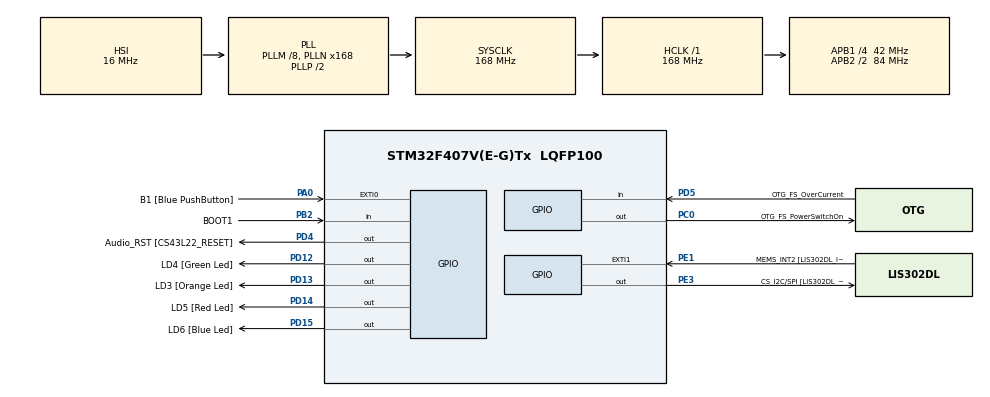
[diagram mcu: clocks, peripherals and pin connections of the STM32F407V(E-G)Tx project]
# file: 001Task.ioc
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Mcu.Family=STM32F4
Mcu.Name=STM32F407V(E-G)Tx
Mcu.Package=LQFP100
NVIC.PriorityGroup=NVIC_PRIORITYGROUP_4
NVIC.TIM6_DAC_IRQn=true\:0\:0\:false\:false\:true\:false\:true\:true
NVIC.TimeBase=TIM6_DAC_IRQn
NVIC.TimeBaseIP=TIM6
PA0-WKUP.GPIO_Label=B1 [Blue PushButton]
PA0-WKUP.Signal=GPXTI0
PA10.GPIO_Label=OTG_FS_ID
PA10.GPIO_Mode=GPIO_MODE_AF_PP
PA10.GPIO_PuPd=GPIO_NOPULL
PA10.GPIO_Speed=GPIO_SPEED_FREQ_LOW
PA10.Signal=USB_OTG_FS_ID
PA11.GPIO_Label=OTG_FS_DM
PA11.GPIO_Mode=GPIO_MODE_AF_PP
PA11.GPIO_PuPd=GPIO_NOPULL
PA11.GPIO_Speed=GPIO_SPEED_FREQ_LOW
PA11.Signal=USB_OTG_FS_DM
PA12.GPIO_Label=OTG_FS_DP
PA12.GPIO_Mode=GPIO_MODE_AF_PP
PA12.GPIO_PuPd=GPIO_NOPULL
PA12.GPIO_Speed=GPIO_SPEED_FREQ_LOW
PA12.Signal=USB_OTG_FS_DP
PA13.GPIO_Label=SWDIO
PA13.Signal=SYS_JTMS-SWDIO
PA14.GPIO_Label=SWCLK
PA14.Signal=SYS_JTCK-SWCLK
PA4.GPIO_Label=I2S3_WS [CS43L22_LRCK]
PA4.GPIO_Mode=GPIO_MODE_AF_PP
PA4.GPIO_PuPd=GPIO_NOPULL
PA4.GPIO_Speed=GPIO_SPEED_FREQ_LOW
PA4.Signal=I2S3_WS
PA5.GPIO_Label=SPI1_SCK [LIS302DL_SCL/SPC]
PA5.GPIO_Mode=GPIO_MODE_AF_PP
PA5.GPIO_PuPd=GPIO_NOPULL
PA5.GPIO_Speed=GPIO_SPEED_FREQ_LOW
PA5.Signal=SPI1_SCK
PA6.GPIO_Label=SPI1_MISO [LIS302DL_SDO]
PA6.GPIO_Mode=GPIO_MODE_AF_PP
PA6.GPIO_PuPd=GPIO_NOPULL
PA6.GPIO_Speed=GPIO_SPEED_FREQ_LOW
PA6.Signal=SPI1_MISO
PA7.GPIO_Label=SPI1_MOSI [LIS302DL_SDA/SDI/SDO]
PA7.GPIO_Mode=GPIO_MODE_AF_PP
PA7.GPIO_PuPd=GPIO_NOPULL
PA7.GPIO_Speed=GPIO_SPEED_FREQ_LOW
PA7.Signal=SPI1_MOSI
PA9.GPIO_Label=VBUS_FS
PA9.GPIO_Mode=GPIO_MODE_INPUT
PA9.GPIO_PuPd=GPIO_NOPULL
PA9.Signal=USB_OTG_FS_VBUS
PB10.GPIO_Label=CLK_IN [MP45DT02_CLK]
PB10.GPIO_Mode=GPIO_MODE_AF_PP
PB10.GPIO_PuPd=GPIO_NOPULL
PB10.GPIO_Speed=GPIO_SPEED_FREQ_LOW
PB10.Signal=I2S2_CK
PB2.GPIO_Label=BOOT1
PB2.GPIO_Mode=GPIO_MODE_INPUT
PB2.GPIO_PuPd=GPIO_NOPULL
PB2.Signal=GPIO_Input
PB3.GPIO_Label=SWO
PB3.Signal=SYS_JTDO-SWO
PB6.GPIO_Label=Audio_SCL [CS43L22_SCL]
PB6.GPIO_Mode=GPIO_MODE_AF_OD
PB6.GPIO_PuPd=GPIO_NOPULL
PB6.GPIO_Speed=GPIO_SPEED_FREQ_LOW
PB6.Signal=I2C1_SCL
PB9.GPIO_Label=Audio_SDA [CS43L22_SDA]
PB9.GPIO_Mode=GPIO_MODE_AF_OD
PB9.GPIO_PuPd=GPIO_NOPULL
PB9.GPIO_Speed=GPIO_SPEED_FREQ_LOW
PB9.Signal=I2C1_SDA
PC0.GPIO_Label=OTG_FS_PowerSwitchOn
PC0.GPIO_PuPd=GPIO_NOPULL
PC0.GPIO_Speed=GPIO_SPEED_FREQ_LOW
PC0.PinState=GPIO_PIN_SET
PC0.Signal=GPIO_Output
PC10.GPIO_Label=I2S3_SCK [CS43L22_SCLK]
PC10.GPIO_Mode=GPIO_MODE_AF_PP
PC10.GPIO_PuPd=GPIO_NOPULL
PC10.GPIO_Speed=GPIO_SPEED_FREQ_LOW
PC10.Signal=I2S3_CK
PC12.GPIO_Label=I2S3_SD [CS43L22_SDIN]
PC12.GPIO_Mode=GPIO_MODE_AF_PP
PC12.GPIO_PuPd=GPIO_NOPULL
PC12.GPIO_Speed=GPIO_SPEED_FREQ_LOW
PC12.Signal=I2S3_SD
PC14-OSC32_IN.GPIO_Label=PC14-OSC32_IN
PC14-OSC32_IN.Signal=RCC_OSC32_IN
PC15-OSC32_OUT.GPIO_Label=PC15-OSC32_OUT
PC15-OSC32_OUT.Signal=RCC_OSC32_OUT
PC3.GPIO_Label=PDM_OUT [MP45DT02_DOUT]
PC3.GPIO_Mode=GPIO_MODE_AF_PP
PC3.GPIO_PuPd=GPIO_NOPULL
PC3.GPIO_Speed=GPIO_SPEED_FREQ_LOW
PC3.Signal=I2S2_SD
PC7.GPIO_Label=I2S3_MCK [CS43L22_MCLK]
PC7.GPIO_Mode=GPIO_MODE_AF_PP
PC7.GPIO_PuPd=GPIO_NOPULL
PC7.GPIO_Speed=GPIO_SPEED_FREQ_LOW
PC7.Signal=I2S3_MCK
PD12.GPIO_Label=LD4 [Green Led]
PD12.GPIO_PuPd=GPIO_NOPULL
PD12.GPIO_Speed=GPIO_SPEED_FREQ_LOW
PD12.Signal=GPIO_Output
PD13.GPIO_Label=LD3 [Orange Led]
PD13.GPIO_PuPd=GPIO_NOPULL
PD13.GPIO_Speed=GPIO_SPEED_FREQ_LOW
PD13.Signal=GPIO_Output
PD14.GPIO_Label=LD5 [Red Led]
PD14.GPIO_PuPd=GPIO_NOPULL
PD14.GPIO_Speed=GPIO_SPEED_FREQ_LOW
PD14.Signal=GPIO_Output
PD15.GPIO_Label=LD6 [Blue Led]
PD15.GPIO_PuPd=GPIO_NOPULL
PD15.GPIO_Speed=GPIO_SPEED_FREQ_LOW
PD15.Signal=GPIO_Output
PD4.GPIO_Label=Audio_RST [CS43L22_RESET]
PD4.GPIO_PuPd=GPIO_NOPULL
PD4.GPIO_Speed=GPIO_SPEED_FREQ_LOW
PD4.Signal=GPIO_Output
PD5.GPIO_Label=OTG_FS_OverCurrent
PD5.GPIO_Mode=GPIO_MODE_INPUT
PD5.GPIO_PuPd=GPIO_NOPULL
PD5.Signal=GPIO_Input
PE1.GPIO_Label=MEMS_INT2 [LIS302DL_INT2]
PE1.GPIO_ModeDefaultEXTI=GPIO_MODE_EVT_RISING
PE1.GPIO_PuPd=GPIO_NOPULL
PE1.Signal=GPXTI1
PE3.GPIO_Label=CS_I2C/SPI [LIS302DL_CS_I2C/SPI]
PE3.GPIO_PuPd=GPIO_NOPULL
PE3.GPIO_Speed=GPIO_SPEED_FREQ_LOW
PE3.Signal=GPIO_Output
PH0-OSC_IN.GPIO_Label=PH0-OSC_IN
PH0-OSC_IN.Signal=RCC_OSC_IN
PH1-OSC_OUT.GPIO_Label=PH1-OSC_OUT
PH1-OSC_OUT.Signal=RCC_OSC_OUT
ProjectManager.HeapSize=0x200
ProjectManager.StackSize=0x400
ProjectManager.TargetToolchain=STM32CubeIDE
RCC.48MHZClocksFreq_Value=48000000
RCC.AHBFreq_Value=168000000
RCC.APB1CLKDivider=RCC_HCLK_DIV4
RCC.APB1Freq_Value=42000000
RCC.APB1TimFreq_Value=84000000
RCC.APB2CLKDivider=RCC_HCLK_DIV2
RCC.APB2Freq_Value=84000000
RCC.APB2TimFreq_Value=168000000
RCC.CortexFreq_Value=168000000
RCC.HCLKFreq_Value=168000000
RCC.HSE_VALUE=8000000
RCC.HSI_VALUE=16000000
RCC.LSE_VALUE=32768
RCC.PLLM=8
RCC.PLLN=168
RCC.PLLQ=7
RCC.SYSCLKFreq_VALUE=168000000
RCC.SYSCLKSource=RCC_SYSCLKSOURCE_PLLCLK
RCC.VCOOutputFreq_Value=336000000
VP_SYS_VS_tim6.Mode=TIM6
board=STM32F407G-DISC1

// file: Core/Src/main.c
/* USER CODE BEGIN Header */
/**
  ******************************************************************************
  * @file           : main.c
  * @brief          : Main program body
  ******************************************************************************
  * @attention
  *
  * Copyright (c) 2026 STMicroelectronics.
  * All rights reserved.
  *
  * This software is licensed under terms that can be found in the LICENSE file
  * in the root directory of this software component.
  * If no LICENSE file comes with this software, it is provided AS-IS.
  *
  ******************************************************************************
  */
/* USER CODE END Header */
#include "main.h"

/* USER CODE BEGIN Includes */
#include <stdio.h>
#include "FreeRTOS.h"
#include "task.h"

/* USER CODE END Includes */

/* USER CODE BEGIN PV */
#define DWT_CTRL      (*(volatile uint32_t*)0xE0001000)

/* USER CODE END PV */

void SystemClock_Config(void);
static void MX_GPIO_Init(void);
/* USER CODE BEGIN PFP */

extern void SEGGER_UART_init(uint32_t baud);
static void task1_handler(void* parameters);
static void task2_handler(void* parameters);
/* USER CODE END PFP */

int main(void)
{

  /* USER CODE BEGIN 1 */
	TaskHandle_t task1_handle;
	TaskHandle_t task2_handle;
	BaseType_t status;

  /* USER CODE END 1 */

  /* MCU Configuration--------------------------------------------------------*/

  /* Reset of all peripherals, Initializes the Flash interface and the Systick. */
  HAL_Init();

  /* Configure the system clock */
  SystemClock_Config();

  /* Initialize all configured peripherals */
  MX_GPIO_Init();
  /* USER CODE BEGIN 2 */

  //Enable the CYCCNT counter
  DWT_CTRL |= (1 << 0);

  SEGGER_UART_init(500000);

  SEGGER_SYSVIEW_Conf();

//  SEGGER_SYSVIEW_Start();

  status = xTaskCreate(task1_handler, "Task-1", 200, "Hello World from Task-1", 2, &task1_handle);

  configASSERT(status == pdPASS);

  status = xTaskCreate(task2_handler, "Task-2", 200, "Hello World from Task-2", 2, &task2_handle);

  configASSERT(status == pdPASS);

  //start the FreeRTOS scheduler
  vTaskStartScheduler();

  //if the control comes here, then the launch of the scheduler has failed due to insufficient memory in heap

  /* USER CODE END 2 */

  /* Infinite loop */
  while (1)
  {

  }
}

void SystemClock_Config(void)
{
  RCC_OscInitTypeDef RCC_OscInitStruct = {0};
  RCC_ClkInitTypeDef RCC_ClkInitStruct = {0};

  /** Configure the main internal regulator output voltage
  */
  __HAL_RCC_PWR_CLK_ENABLE();
  __HAL_PWR_VOLTAGESCALING_CONFIG(PWR_REGULATOR_VOLTAGE_SCALE1);

  /** Initializes the RCC Oscillators according to the specified parameters
  * in the RCC_OscInitTypeDef structure.
  */
  RCC_OscInitStruct.OscillatorType = RCC_OSCILLATORTYPE_HSI;
  RCC_OscInitStruct.HSIState = RCC_HSI_ON;
  RCC_OscInitStruct.HSICalibrationValue = RCC_HSICALIBRATION_DEFAULT;
  RCC_OscInitStruct.PLL.PLLState = RCC_PLL_ON;
  RCC_OscInitStruct.PLL.PLLSource = RCC_PLLSOURCE_HSI;
  RCC_OscInitStruct.PLL.PLLM = 8;
  RCC_OscInitStruct.PLL.PLLN = 168;
  RCC_OscInitStruct.PLL.PLLP = RCC_PLLP_DIV2;
  RCC_OscInitStruct.PLL.PLLQ = 7;
  if (HAL_RCC_OscConfig(&RCC_OscInitStruct) != HAL_OK)
  {
    Error_Handler();
  }

  /** Initializes the CPU, AHB and APB buses clocks
  */
  RCC_ClkInitStruct.ClockType = RCC_CLOCKTYPE_HCLK|RCC_CLOCKTYPE_SYSCLK
                              |RCC_CLOCKTYPE_PCLK1|RCC_CLOCKTYPE_PCLK2;
  RCC_ClkInitStruct.SYSCLKSource = RCC_SYSCLKSOURCE_PLLCLK;
  RCC_ClkInitStruct.AHBCLKDivider = RCC_SYSCLK_DIV1;
  RCC_ClkInitStruct.APB1CLKDivider = RCC_HCLK_DIV4;
  RCC_ClkInitStruct.APB2CLKDivider = RCC_HCLK_DIV2;

  if (HAL_RCC_ClockConfig(&RCC_ClkInitStruct, FLASH_LATENCY_5) != HAL_OK)
  {
    Error_Handler();
  }
}

static void MX_GPIO_Init(void)
{
  GPIO_InitTypeDef GPIO_InitStruct = {0};

  /* GPIO Ports Clock Enable */
  __HAL_RCC_GPIOE_CLK_ENABLE();
  __HAL_RCC_GPIOC_CLK_ENABLE();
  __HAL_RCC_GPIOH_CLK_ENABLE();
  __HAL_RCC_GPIOA_CLK_ENABLE();
  __HAL_RCC_GPIOB_CLK_ENABLE();
  __HAL_RCC_GPIOD_CLK_ENABLE();

  /*Configure GPIO pin Output Level */
  HAL_GPIO_WritePin(CS_I2C_SPI_GPIO_Port, CS_I2C_SPI_Pin, GPIO_PIN_RESET);

  /*Configure GPIO pin Output Level */
  HAL_GPIO_WritePin(OTG_FS_PowerSwitchOn_GPIO_Port, OTG_FS_PowerSwitchOn_Pin, GPIO_PIN_SET);

  /*Configure GPIO pin Output Level */
  HAL_GPIO_WritePin(GPIOD, LD4_Pin|LD3_Pin|LD5_Pin|LD6_Pin
                          |Audio_RST_Pin, GPIO_PIN_RESET);

  /*Configure GPIO pin : CS_I2C_SPI_Pin */
  GPIO_InitStruct.Pin = CS_I2C_SPI_Pin;
  GPIO_InitStruct.Mode = GPIO_MODE_OUTPUT_PP;
  GPIO_InitStruct.Pull = GPIO_NOPULL;
  GPIO_InitStruct.Speed = GPIO_SPEED_FREQ_LOW;
  HAL_GPIO_Init(CS_I2C_SPI_GPIO_Port, &GPIO_InitStruct);

  /*Configure GPIO pin : OTG_FS_PowerSwitchOn_Pin */
  GPIO_InitStruct.Pin = OTG_FS_PowerSwitchOn_Pin;
  GPIO_InitStruct.Mode = GPIO_MODE_OUTPUT_PP;
  GPIO_InitStruct.Pull = GPIO_NOPULL;
  GPIO_InitStruct.Speed = GPIO_SPEED_FREQ_LOW;
  HAL_GPIO_Init(OTG_FS_PowerSwitchOn_GPIO_Port, &GPIO_InitStruct);

  /*Configure GPIO pin : PDM_OUT_Pin */
  GPIO_InitStruct.Pin = PDM_OUT_Pin;
  GPIO_InitStruct.Mode = GPIO_MODE_AF_PP;
  GPIO_InitStruct.Pull = GPIO_NOPULL;
  GPIO_InitStruct.Speed = GPIO_SPEED_FREQ_LOW;
  GPIO_InitStruct.Alternate = GPIO_AF5_SPI2;
  HAL_GPIO_Init(PDM_OUT_GPIO_Port, &GPIO_InitStruct);

  /*Configure GPIO pin : B1_Pin */
  GPIO_InitStruct.Pin = B1_Pin;
  GPIO_InitStruct.Mode = GPIO_MODE_IT_RISING;
  GPIO_InitStruct.Pull = GPIO_NOPULL;
  HAL_GPIO_Init(B1_GPIO_Port, &GPIO_InitStruct);

  /*Configure GPIO pin : I2S3_WS_Pin */
  GPIO_InitStruct.Pin = I2S3_WS_Pin;
  GPIO_InitStruct.Mode = GPIO_MODE_AF_PP;
  GPIO_InitStruct.Pull = GPIO_NOPULL;
  GPIO_InitStruct.Speed = GPIO_SPEED_FREQ_LOW;
  GPIO_InitStruct.Alternate = GPIO_AF6_SPI3;
  HAL_GPIO_Init(I2S3_WS_GPIO_Port, &GPIO_InitStruct);

  /*Configure GPIO pins : SPI1_SCK_Pin SPI1_MISO_Pin SPI1_MOSI_Pin */
  GPIO_InitStruct.Pin = SPI1_SCK_Pin|SPI1_MISO_Pin|SPI1_MOSI_Pin;
  GPIO_InitStruct.Mode = GPIO_MODE_AF_PP;
  GPIO_InitStruct.Pull = GPIO_NOPULL;
  GPIO_InitStruct.Speed = GPIO_SPEED_FREQ_LOW;
  GPIO_InitStruct.Alternate = GPIO_AF5_SPI1;
  HAL_GPIO_Init(GPIOA, &GPIO_InitStruct);

  /*Configure GPIO pin : BOOT1_Pin */
  GPIO_InitStruct.Pin = BOOT1_Pin;
  GPIO_InitStruct.Mode = GPIO_MODE_INPUT;
  GPIO_InitStruct.Pull = GPIO_NOPULL;
  HAL_GPIO_Init(BOOT1_GPIO_Port, &GPIO_InitStruct);

  /*Configure GPIO pin : CLK_IN_Pin */
  GPIO_InitStruct.Pin = CLK_IN_Pin;
  GPIO_InitStruct.Mode = GPIO_MODE_AF_PP;
  GPIO_InitStruct.Pull = GPIO_NOPULL;
  GPIO_InitStruct.Speed = GPIO_SPEED_FREQ_LOW;
  GPIO_InitStruct.Alternate = GPIO_AF5_SPI2;
  HAL_GPIO_Init(CLK_IN_GPIO_Port, &GPIO_InitStruct);

  /*Configure GPIO pins : LD4_Pin LD3_Pin LD5_Pin LD6_Pin
                           Audio_RST_Pin */
  GPIO_InitStruct.Pin = LD4_Pin|LD3_Pin|LD5_Pin|LD6_Pin
                          |Audio_RST_Pin;
  GPIO_InitStruct.Mode = GPIO_MODE_OUTPUT_PP;
  GPIO_InitStruct.Pull = GPIO_NOPULL;
  GPIO_InitStruct.Speed = GPIO_SPEED_FREQ_LOW;
  HAL_GPIO_Init(GPIOD, &GPIO_InitStruct);

  /*Configure GPIO pins : I2S3_MCK_Pin I2S3_SCK_Pin I2S3_SD_Pin */
  GPIO_InitStruct.Pin = I2S3_MCK_Pin|I2S3_SCK_Pin|I2S3_SD_Pin;
  GPIO_InitStruct.Mode = GPIO_MODE_AF_PP;
  GPIO_InitStruct.Pull = GPIO_NOPULL;
  GPIO_InitStruct.Speed = GPIO_SPEED_FREQ_LOW;
  GPIO_InitStruct.Alternate = GPIO_AF6_SPI3;
  HAL_GPIO_Init(GPIOC, &GPIO_InitStruct);

  /*Configure GPIO pin : VBUS_FS_Pin */
  GPIO_InitStruct.Pin = VBUS_FS_Pin;
  GPIO_InitStruct.Mode = GPIO_MODE_INPUT;
  GPIO_InitStruct.Pull = GPIO_NOPULL;
  HAL_GPIO_Init(VBUS_FS_GPIO_Port, &GPIO_InitStruct);

  /*Configure GPIO pins : OTG_FS_ID_Pin OTG_FS_DM_Pin OTG_FS_DP_Pin */
  GPIO_InitStruct.Pin = OTG_FS_ID_Pin|OTG_FS_DM_Pin|OTG_FS_DP_Pin;
  GPIO_InitStruct.Mode = GPIO_MODE_AF_PP;
  GPIO_InitStruct.Pull = GPIO_NOPULL;
  GPIO_InitStruct.Speed = GPIO_SPEED_FREQ_LOW;
  GPIO_InitStruct.Alternate = GPIO_AF10_OTG_FS;
  HAL_GPIO_Init(GPIOA, &GPIO_InitStruct);

  /*Configure GPIO pin : OTG_FS_OverCurrent_Pin */
  GPIO_InitStruct.Pin = OTG_FS_OverCurrent_Pin;
  GPIO_InitStruct.Mode = GPIO_MODE_INPUT;
  GPIO_InitStruct.Pull = GPIO_NOPULL;
  HAL_GPIO_Init(OTG_FS_OverCurrent_GPIO_Port, &GPIO_InitStruct);

  /*Configure GPIO pins : Audio_SCL_Pin Audio_SDA_Pin */
  GPIO_InitStruct.Pin = Audio_SCL_Pin|Audio_SDA_Pin;
  GPIO_InitStruct.Mode = GPIO_MODE_AF_OD;
  GPIO_InitStruct.Pull = GPIO_NOPULL;
  GPIO_InitStruct.Speed = GPIO_SPEED_FREQ_LOW;
  GPIO_InitStruct.Alternate = GPIO_AF4_I2C1;
  HAL_GPIO_Init(GPIOB, &GPIO_InitStruct);

  /*Configure GPIO pin : MEMS_INT2_Pin */
  GPIO_InitStruct.Pin = MEMS_INT2_Pin;
  GPIO_InitStruct.Mode = GPIO_MODE_EVT_RISING;
  GPIO_InitStruct.Pull = GPIO_NOPULL;
  HAL_GPIO_Init(MEMS_INT2_GPIO_Port, &GPIO_InitStruct);

}

/* USER CODE BEGIN 4 */
#if 0
static void task1_handler(void* parameters)
{
	while(1)
	{
		printf("%s\n", (char*) parameters);
//		taskYIELD();
	}

}

static void task2_handler(void* parameters)
{
	while(1)
	{
		printf("%s\n", (char*) parameters);
//		taskYIELD();
	}

}
#endif

#if 1
static void task1_handler(void* parameters)
{

	char msg[100];

	while(1)
	{
		snprintf(msg,100,"%s\n", (char*)parameters);
		SEGGER_SYSVIEW_PrintfTarget(msg);
		taskYIELD();
	}

}

static void task2_handler(void* parameters)
{
	char msg[100];
	while(1)
	{
		snprintf(msg,100,"%s\n", (char*)parameters);
		SEGGER_SYSVIEW_PrintfTarget(msg);
		taskYIELD();
	}

}
#endif
/* USER CODE END 4 */

void HAL_TIM_PeriodElapsedCallback(TIM_HandleTypeDef *htim)
{
  if (htim->Instance == TIM6) {
    HAL_IncTick();
  }
}

void Error_Handler(void)
{
  __disable_irq();
  while (1)
  {
  }
}
